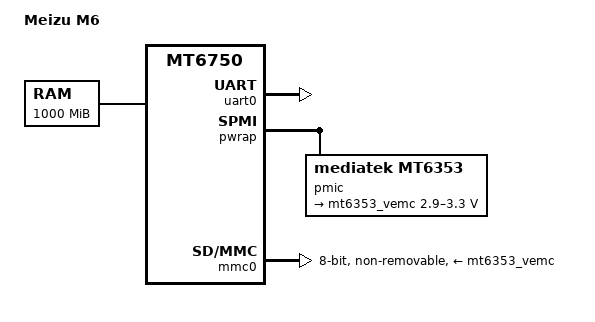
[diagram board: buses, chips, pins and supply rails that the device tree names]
// SPDX-License-Identifier: GPL-2.0-only
/*
 * Meizu M6 (m1711), MediaTek MT6750
 *
 * Storage-only port: pwrap + MT6353 VEMC + eMMC, plus UART0.  Nothing
 * else is described because nothing else is proven for this board.
 *
 * SoC identity.  The stock DTB inside the Flyme 7.1.2.0G boot image says
 *     model = "MT6755"; compatible = "mediatek,MT6755";
 * (captures/20260612-m6-stock-flyme-7120G-kernel/stock.dts:4-5).  That is
 * the family name, not the SoC: MT6750 is the down-binned MT6755 and the
 * vendor builds every MT6750 board on the mt6755 dtsi.  The running
 * device resolves it -- on stock 3.18.35 (capture m6cap-20260725-1305,
 * serial 711HEBRN23L3N) /proc/device-tree/model reads "MT6750V/DN" with
 * the same "mediatek,MT6755" compatible, and getprop reports
 *     ro.board.platform=mt6750, ro.mediatek.platform=MT6750,
 *     ro.build.flavor=full_wt6750s_66_s11_n-user, project m1711-6.
 * The stock preloader is preloader_wt6750s_66_s11_n.bin.  Hence MT6750.
 */

/dts-v1/;

#include "mt6750.dtsi"
#include <dt-bindings/pinctrl/mt65xx.h>

/ {
	model = "Meizu M6";
	chassis-type = "handset";
	compatible = "meizu,m6", "mediatek,mt6750";

	aliases {
		serial0 = &uart0;
		mmc0 = &mmc0;
	};

	chosen {
		stdout-path = "serial0:921600n8";
	};

	/*
	 * Stock DTB value (stock-appended.dts:280-284).  LK rewrites the
	 * memory node from the EMI settings on every boot, so this is the
	 * reference window the vendor tree ships, not a claim about the SKU
	 * size.  A live 2 GB M6 reports MemTotal 1825992 kB over
	 * 0x40000000-0xbff7ffff (capture m6cap-20260725-1305/83-iomem,
	 * 84-meminfo); this node is a conservative subset of that.
	 */
	memory@40000000 {
		device_type = "memory";
		reg = <0 0x40000000 0 0x3e800000>;
	};

	reserved-memory {
		#address-cells = <2>;
		#size-cells = <2>;
		ranges;

		ram_console: ram-console@44400000 {
			reg = <0 0x44400000 0 0x10000>;
		};

		pstore: pstore@44410000 {
			reg = <0 0x44410000 0 0xe0000>;
		};

		minidump: minidump@444f0000 {
			reg = <0 0x444f0000 0 0x10000>;
		};

		atf: atf@44600000 {
			reg = <0 0x44600000 0 0x40000>;
			no-map;
		};

		preloader: preloader@44800000 {
			reg = <0 0x44800000 0 0x100000>;
		};

		lk: lk@46000000 {
			reg = <0 0x46000000 0 0x400000>;
		};

		/*
		 * Modem/connectivity reservations.  Sizes are the stock
		 * DTS values (stock-appended.dts reserve-memory-ccci_md1,
		 * reserve-memory-ccci_share, consys-reserve-memory,
		 * spm-reserve-memory).  The modem is not driven by this
		 * kernel, but its firmware may still be live when Linux
		 * boots, so its RAM is kept out of the allocator.  Placement
		 * is left to the early allocator and will not necessarily
		 * match where LK put it.
		 */
		modem-md1 {
			size = <0 0xa100000>;
			alignment = <0 0x2000000>;
			alloc-ranges = <0 0x40000000 0 0xc0000000>;
			no-map;
		};

		modem-share {
			size = <0 0x600000>;
			alignment = <0 0x4000000>;
			alloc-ranges = <0 0x40000000 0 0xc0000000>;
			no-map;
		};

		consys {
			size = <0 0x100000>;
			alignment = <0 0x200000>;
			alloc-ranges = <0 0x40000000 0 0x60000000>;
			no-map;
		};

		spm {
			size = <0 0x20000>;
			alignment = <0 0x10000>;
			alloc-ranges = <0 0x40000000 0 0x60000000>;
			no-map;
		};
	};
};

/*
 * UART0.  GPIO105 = URXD0, GPIO106 = UTXD0, both function 1
 * (mt6755-pinfunc.h PINMUX_GPIO105__FUNC_URXD0 /
 * PINMUX_GPIO106__FUNC_UTXD0).  The stock DTS uses exactly these pads
 * (stock-appended.dts uart0_rx_set@gpio105 = 0x6901,
 * uart0_tx_set@gpio106 = 0x6a01) and boots with console=ttyMT0.
 */
&pio {
	uart0_pins: uart0-pins {
		pins {
			pinmux = <(MTK_PIN_NO(105) | 1)>,
				 <(MTK_PIN_NO(106) | 1)>;
		};
	};
};

&uart0 {
	pinctrl-names = "default";
	pinctrl-0 = <&uart0_pins>;
	status = "okay";
};

/*
 * MT6353 PMIC, storage rails only.
 *
 * The stock DTS describes this PMIC as
 * compatible = "mediatek,mt6351-pmic", "mediatek,mt6353-pmic"
 * (stock-appended.dts:1723-1724) and the stock 3.18 kernel only carries
 * mt6353 PMIC drivers.  No interrupt is described: the MT6353 nIRQ EINT
 * number is not proven and VEMC does not need one.
 *
 * VEMC range 2.9-3.3 V is the stock regulator node
 * (stock-appended.dts ldo_vemc: 0x2c4020-0x325aa0, regulator-boot-on);
 * it is kept always-on so the rail is never disabled without runtime
 * proof.
 */
&pwrap {
	status = "okay";

	pmic: mt6353 {
		compatible = "mediatek,mt6353";
		#address-cells = <0>;

		regulators {
			mt6353_vemc: ldo-vemc {
				regulator-name = "vemc";
				regulator-min-microvolt = <2900000>;
				regulator-max-microvolt = <3300000>;
				regulator-always-on;
			};
		};
	};
};

/*
 * eMMC.  bus-width 8 / non-removable / vmmc-supply = VEMC are the stock
 * MSDC0 settings (stock-appended.dts msdc0@11230000:
 * vmmc-supply = <&ldo_vemc>, bus-width 8, non-removable).
 *
 * The stock node also enables mmc-hs200-1_8v/mmc-hs400-1_8v, but it has
 * no vqmmc-supply and the vendor msdc driver switches that rail itself.
 * Mainline needs a proven vqmmc-supply for 1.8 V modes, so HS200/HS400
 * and pinctrl are deliberately not claimed here.
 */
&mmc0 {
	vmmc-supply = <&mt6353_vemc>;
	bus-width = <8>;
	non-removable;
	no-sd;
	no-sdio;
	status = "okay";
};
